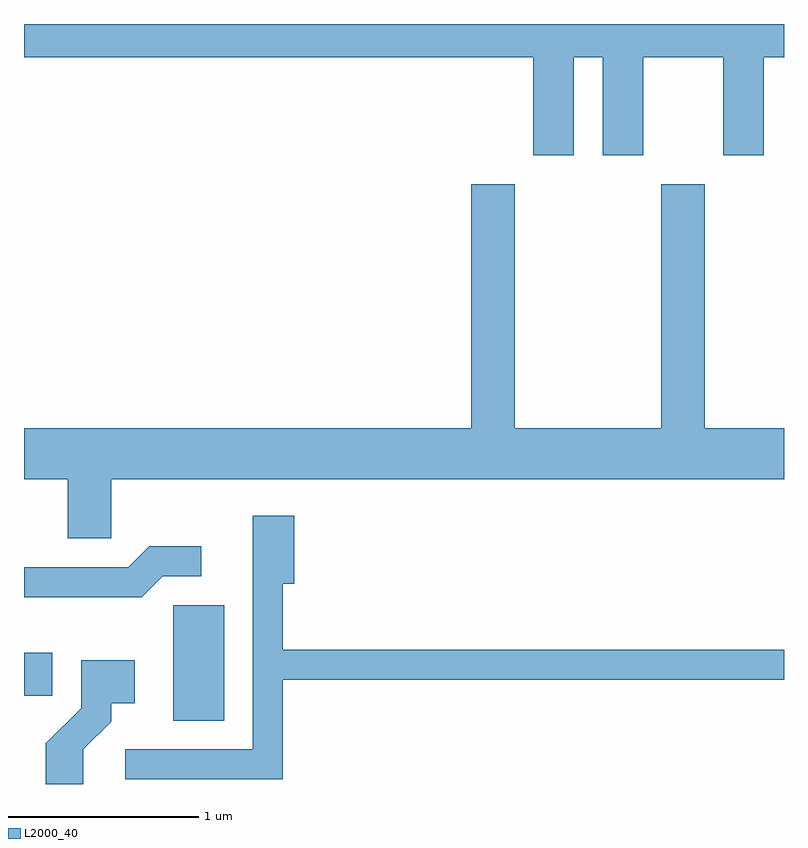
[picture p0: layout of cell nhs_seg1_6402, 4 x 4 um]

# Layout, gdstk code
import gdstk
lib = gdstk.Library(unit=1e-6, precision=1e-09)
def R(c, l, rs):  # rectangles x0, y0, x1, y1
    for r in rs: c.add(gdstk.rectangle(r[:2], r[2:], *l))
def P(c, l, *ps):  # polygons
    for p in ps: c.add(gdstk.Polygon(p, *l))
L2000_40 = (2000, 40)

nhs_seg1_6402 = lib.new_cell('nhs_seg1_6402')
R(nhs_seg1_6402, L2000_40, [(378.396,936.046,378.664,936.654), (377.611,936.176,377.759,936.404)])
P(nhs_seg1_6402, L2000_40, [(380.504,939.536),(380.656,939.536),(380.656,939.021),(380.869,939.021),(380.869,939.536),(381.291,939.536),(381.291,939.021),(381.504,939.021),(381.504,939.536),(381.611,939.536),(381.611,939.712),(377.611,939.712),(377.611,939.536),(380.291,939.536),(380.291,939.021),(380.504,939.021)],
  [(378.069,937.316),(381.611,937.316),(381.611,937.584),(381.194,937.584),(381.194,938.869),(380.966,938.869),(380.966,937.584),(380.194,937.584),(380.194,938.869),(379.966,938.869),(379.966,937.584),(377.611,937.584),(377.611,937.316),(377.841,937.316),(377.841,937.006),(378.069,937.006)],
  [(378.974,936.261),(381.611,936.261),(381.611,936.419),(378.974,936.419),(378.974,936.766),(379.034,936.766),(379.034,937.124),(378.816,937.124),(378.816,935.894),(378.143,935.894),(378.143,935.736),(378.974,935.736)],
  [(378.342,936.806),(378.543,936.806),(378.543,936.964),(378.269,936.964),(378.159,936.854),(377.611,936.854),(377.611,936.696),(378.232,936.696)],
  [(377.924,935.894),(378.069,936.039),(378.069,936.136),(378.194,936.136),(378.194,936.364),(377.911,936.364),(377.911,936.112),(377.726,935.927),(377.726,935.712),(377.924,935.712)])

lib.write_gds('nhs_seg1_6402.gds')
